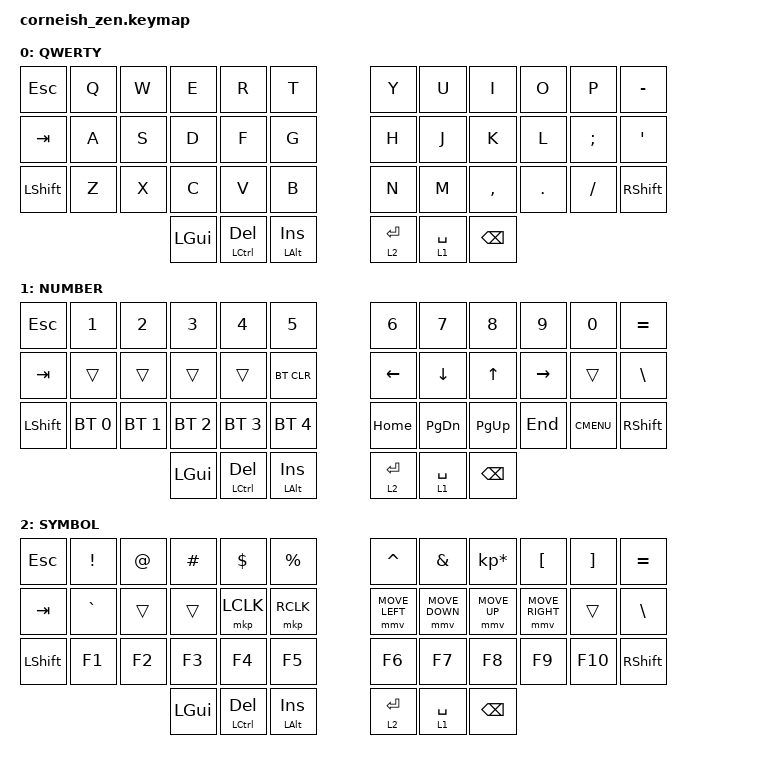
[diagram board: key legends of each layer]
#include <behaviors.dtsi>
#include <dt-bindings/zmk/keys.h>
#include <dt-bindings/zmk/mouse.h>
#include <dt-bindings/zmk/bt.h>

/ {
    chosen {
        zmk,physical-layout = &foostan_corne_6col_layout;
        // zmk,physical-layout = &foostan_corne_5col_layout;
    };
};

/ {
    keymap {
        compatible = "zmk,keymap";

        default_layer {
            display-name = "QWERTY";
// --------------------------------------------------------------------------------
// | ESC |  Q  |  W  |  E  |  R  |  T  |   |  Y  |  U  |  I  |  O  |  P  |  -  |
// | TAB |  A  |  S  |  D  |  F  |  G  |   |  H  |  J  |  K  |  L  |  ;  |  '  |
// | SFT |  Z  |  X  |  C  |  V  |  B  |   |  N  |  M  |  ,  |  .  |  /  | SFT |
//                   |     | CTR | ALT |   |  2  |  1  |     |
//                   | GUI | DEL | INS |   | RET | SPC | BSP |
            bindings = <
&kp ESC   &kp Q &kp W &kp E    &kp R         &kp T         &kp Y     &kp U       &kp I     &kp O   &kp P    &kp MINUS
&kp TAB   &kp A &kp S &kp D    &kp F         &kp G         &kp H     &kp J       &kp K     &kp L   &kp SEMI &kp SQT
&kp LSHFT &kp Z &kp X &kp C    &kp V         &kp B         &kp N     &kp M       &kp COMMA &kp DOT &kp FSLH &kp RSHFT
                      &kp LGUI &mt LCTRL DEL &mt LALT INS  &lt 2 RET &lt 1 SPACE &kp BSPC
            >;
        };

        lower_layer {
            display-name = "NUMBER";
// -----------------------------------------------------------------------------------------
// | ESC |  1  |  2  |  3  |  4  |  5  |   |  6  |  7  |  8  |  9  |  0  |  =  |
// | TAB |     |     |     |     | BTC |   | LFT | DWN |  UP | RGT |     |  \  |
// | SFT | BT1 | BT2 | BT3 | BT4 | BT5 |   | HOM | PDN | PUP | END | CXT | SFT |
//                   |     | CTR | ALT |   |  2  |  1  |     |
//                   | GUI | DEL | INS |   | RET | SPC | BSP |
            bindings = <
&kp ESC   &kp N1       &kp N2       &kp N3       &kp N4        &kp N5        &kp N6    &kp N7      &kp N8    &kp N9    &kp N0      &kp EQUAL
&kp TAB   &trans       &trans       &trans       &trans        &bt BT_CLR    &kp LEFT  &kp DOWN    &kp UP    &kp RIGHT &trans      &kp BSLH
&kp LSHFT &bt BT_SEL 0 &bt BT_SEL 1 &bt BT_SEL 2 &bt BT_SEL 3  &bt BT_SEL 4  &kp HOME  &kp PG_DN   &kp PG_UP &kp END   &kp K_CMENU &kp RSHFT
                                    &kp LGUI     &mt LCTRL DEL &mt LALT INS  &lt 2 RET &lt 1 SPACE &kp BSPC
            >;
        };

        raise_layer {
            display-name = "SYMBOL";
// -----------------------------------------------------------------------------------------
// | ESC |  !  |  @  |  #  |  $  |  %  |   |  ^  |  &  |  *  |  [  |  ]  |  =  |
// | TAB |  `  |     |     | MLC | MRC |   | MLF | MDN | MUP | MRT |     |  \  |
// | SFT |  F1 |  F2 |  F3 |  F4 |  F5 |   |  F6 |  F7 |  F8 |  F9 | F10 | SFT |
//                   |     | CTR | ALT |   |  2  |  1  |     |
//                   | GUI | DEL | INS |   | RET | SPC | BSP |
            bindings = <
&kp  ESC  &kp EXCL  &kp AT &kp HASH &kp DLLR      &kp PRCNT     &kp CARET      &kp AMPS       &kp KP_MULTIPLY &kp LBKT        &kp RBKT &kp EQUAL
&kp  TAB  &kp GRAVE &trans &trans   &mkp LCLK     &mkp RCLK     &mmv MOVE_LEFT &mmv MOVE_DOWN &mmv MOVE_UP    &mmv MOVE_RIGHT &trans   &kp BSLH
&kp LSHFT &kp F1    &kp F2 &kp F3   &kp F4        &kp F5        &kp F6         &kp F7         &kp F8          &kp F9          &kp F10  &kp RSHFT
                           &kp LGUI &mt LCTRL DEL &mt LALT INS  &lt 2 RET      &lt 1 SPACE    &kp BSPC
            >;
        };
    };
};
